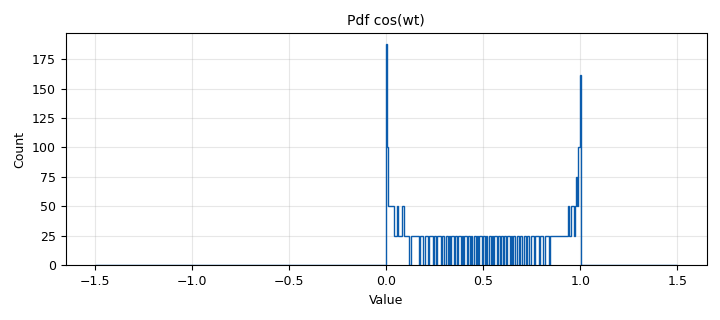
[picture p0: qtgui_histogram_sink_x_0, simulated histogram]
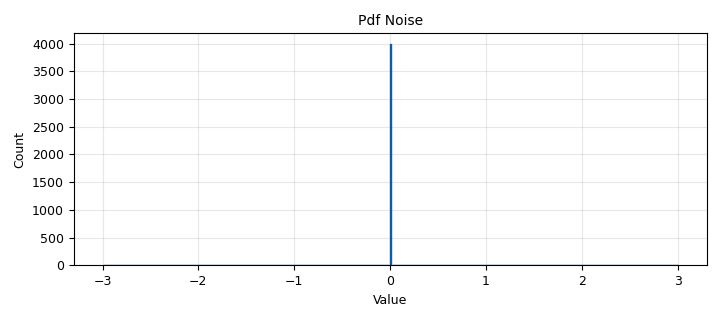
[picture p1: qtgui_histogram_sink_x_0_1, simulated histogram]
options:
  parameters:
    author: Vazquez Leonardo
    generate_options: qt_gui
    id: pdfimeter
    output_language: python
    title: pdfimeter
  states: {}

blocks:
- name: bins
  id: variable
  parameters:
    value: '500'
  states: {}
- name: points
  id: variable
  parameters:
    value: '4000'
  states: {}
- name: samp_rate
  id: variable
  parameters:
    value: '32000'
  states: {}
- name: analog_noise_source_x_0
  id: analog_noise_source_x
  parameters:
    amp: '1'
    noise_type: analog.GR_IMPULSE
    seed: '0'
    type: float
  states: {}
- name: analog_sig_source_x_0
  id: analog_sig_source_x
  parameters:
    amp: '0.5'
    freq: '100'
    offset: '0.5'
    phase: '0'
    samp_rate: samp_rate
    type: float
    waveform: analog.GR_COS_WAVE
  states: {}
- name: analog_sig_source_x_0_0
  id: analog_sig_source_x
  parameters:
    amp: '1'
    freq: '5000'
    offset: '0'
    phase: '0'
    samp_rate: samp_rate
    type: float
    waveform: analog.GR_TRI_WAVE
  states: {state: disabled}
- name: qtgui_histogram_sink_x_0
  id: qtgui_histogram_sink_x
  parameters:
    bins: bins
    grid: 'True'
    name: '"Pdf cos(wt)"'
    size: points
    type: float
    update_time: '0.40'
    xmax: '1.5'
    xmin: '-1.5'
  states: {}
- name: qtgui_histogram_sink_x_0_0
  id: qtgui_histogram_sink_x
  parameters:
    bins: bins
    grid: 'True'
    name: '"Pdf Triangle"'
    size: points
    type: float
    update_time: '0.40'
    xmax: '1.5'
    xmin: '-1.5'
  states: {state: disabled}
- name: qtgui_histogram_sink_x_0_1
  id: qtgui_histogram_sink_x
  parameters:
    bins: bins
    grid: 'True'
    name: '"Pdf Noise"'
    size: points
    type: float
    update_time: '0.40'
    xmax: '3'
    xmin: '-3'
  states: {}

connections:
- [analog_noise_source_x_0, '0', qtgui_histogram_sink_x_0_1, '0']
- [analog_sig_source_x_0, '0', qtgui_histogram_sink_x_0, '0']
- [analog_sig_source_x_0_0, '0', qtgui_histogram_sink_x_0_0, '0']

metadata:
  file_format: 1
